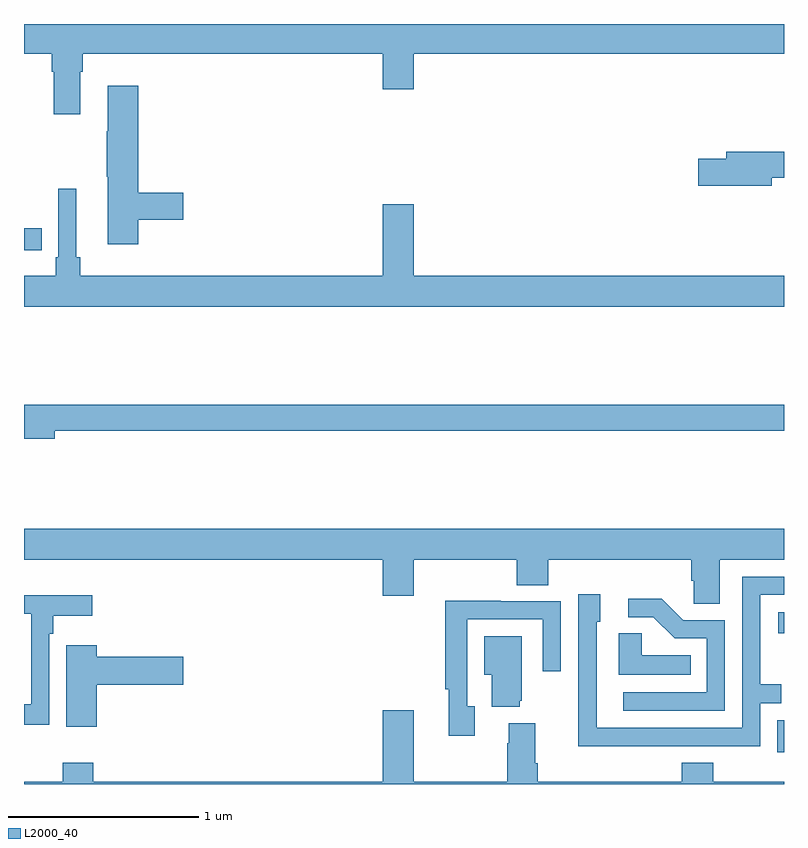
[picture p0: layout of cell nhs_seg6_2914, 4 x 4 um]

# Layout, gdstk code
import gdstk
lib = gdstk.Library(unit=1e-6, precision=1e-09)
def R(c, l, rs):  # rectangles x0, y0, x1, y1
    for r in rs: c.add(gdstk.rectangle(r[:2], r[2:], *l))
def P(c, l, *ps):  # polygons
    for p in ps: c.add(gdstk.Polygon(p, *l))
L2000_40 = (2000, 40)

nhs_seg6_2914 = lib.new_cell('nhs_seg6_2914')
R(nhs_seg6_2914, L2000_40, [(286.965,935.667,287,935.835), (286.971,936.293,287,936.403), (283,938.31,283.094,938.426)])
P(nhs_seg6_2914, L2000_40, [(284.888,939.156),(285.052,939.156),(285.052,939.344),(287,939.344),(287,939.5),(283,939.5),(283,939.344),(283.145,939.344),(283.145,939.248),(283.157,939.248),(283.157,939.024),(283.297,939.024),(283.297,939.248),(283.31,939.248),(283.31,939.344),(284.888,939.344)],
  [(283.601,938.47),(283.837,938.47),(283.837,938.612),(283.601,938.612),(283.601,939.175),(283.442,939.175),(283.442,938.936),(283.435,938.936),(283.435,938.695),(283.442,938.695),(283.442,938.34),(283.601,938.34)],
  [(286.936,938.692),(287,938.692),(287,938.828),(286.697,938.828),(286.697,938.792),(286.548,938.792),(286.548,938.65),(286.936,938.65)],
  [(287,938.176),(285.052,938.176),(285.052,938.551),(284.888,938.551),(284.888,938.176),(283.295,938.176),(283.295,938.272),(283.276,938.272),(283.276,938.632),(283.179,938.632),(283.179,938.272),(283.166,938.272),(283.166,938.176),(283,938.176),(283,938.012),(287,938.012)],
  [(283.162,937.36),(287,937.36),(287,937.496),(283,937.496),(283,937.318),(283.162,937.318)],
  [(286.663,936.68),(287,936.68),(287,936.844),(283,936.844),(283,936.68),(284.888,936.68),(284.888,936.492),(285.052,936.492),(285.052,936.68),(285.593,936.68),(285.593,936.547),(285.758,936.547),(285.758,936.68),(286.511,936.68),(286.511,936.571),(286.524,936.571),(286.524,936.448),(286.663,936.448)],
  [(286.379,935.7),(286.875,935.7),(286.875,935.925),(286.985,935.925),(286.985,936.026),(286.875,936.026),(286.875,936.495),(287,936.495),(287,936.591),(286.779,936.591),(286.779,935.796),(286.014,935.796),(286.014,936.354),(286.033,936.354),(286.033,936.499),(285.918,936.499),(285.918,936.005),(285.916,936.005),(285.916,935.699),(286.379,935.699)],
  [(283.134,936.29),(283.154,936.29),(283.154,936.386),(283.36,936.386),(283.36,936.494),(283,936.494),(283,936.396),(283.038,936.396),(283.038,935.919),(283,935.919),(283,935.811),(283.134,935.811)],
  [(286.689,936.363),(286.47,936.363),(286.357,936.476),(286.179,936.476),(286.179,936.378),(286.313,936.378),(286.424,936.267),(286.593,936.267),(286.593,935.982),(286.155,935.982),(286.155,935.886),(286.689,935.886)],
  [(285.373,935.91),(285.333,935.91),(285.333,936.366),(285.729,936.366),(285.729,936.093),(285.825,936.093),(285.825,936.462),(285.509,936.462),(285.509,936.464),(285.217,936.464),(285.217,935.998),(285.236,935.998),(285.236,935.754),(285.373,935.754)],
  [(286.508,936.178),(286.251,936.178),(286.251,936.293),(286.13,936.293),(286.13,936.074),(286.508,936.074)],
  [(285.608,935.937),(285.619,935.937),(285.619,936.277),(285.422,936.277),(285.422,936.074),(285.461,936.074),(285.461,935.906),(285.608,935.906)],
  [(283.382,936.023),(283.837,936.023),(283.837,936.17),(283.382,936.17),(283.382,936.229),(283.223,936.229),(283.223,935.802),(283.382,935.802)],
  [(287,935.512),(286.628,935.512),(286.628,935.611),(286.463,935.611),(286.463,935.512),(285.704,935.512),(285.704,935.608),(285.691,935.608),(285.691,935.821),(285.551,935.821),(285.551,935.714),(285.544,935.714),(285.544,935.512),(285.052,935.512),(285.052,935.887),(284.888,935.887),(284.888,935.512),(283.364,935.512),(283.364,935.611),(283.204,935.611),(283.204,935.512),(283,935.512),(283,935.5),(287,935.5)])

lib.write_gds('nhs_seg6_2914.gds')
